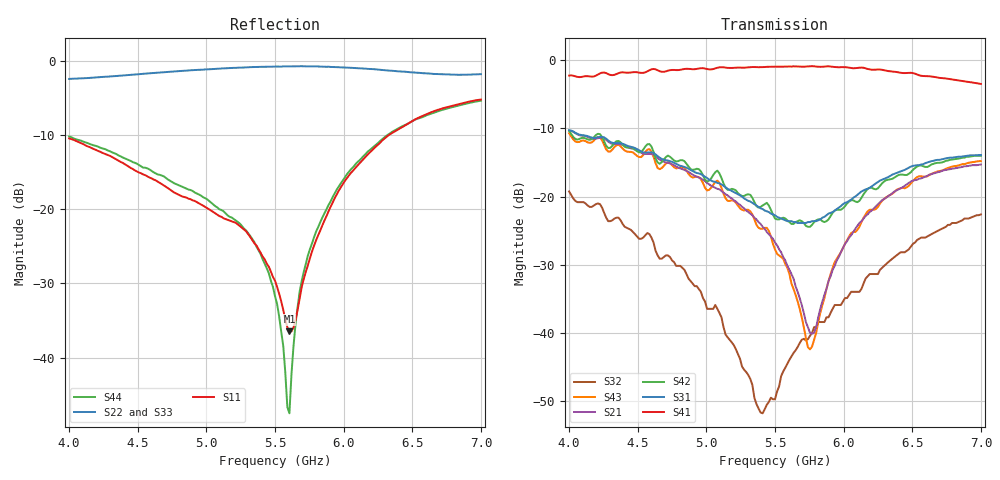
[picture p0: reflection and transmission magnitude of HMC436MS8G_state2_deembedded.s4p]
!Hittite Microwave Corporation
!12 Elizabeth Drive
!Chelmsford, MA 01824
!Tel: 978-250-3343
!Fax: 978-250-3373
!Device: HMC436MS8G, 4.9-5.9 GHz GaAs MMIC DPDT Diversity Switch in 8-lead Grounded Base surface Mount Plastic Package
!Misc:  Port 1 = ANT1, Port 2 = ANT2, Port 3 = Tx, Port 4 = Rx, Vctl=+3V, State 2 selected, Room
# MHZ S MA R 50
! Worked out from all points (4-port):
!   201 points, 4 GHz to 7 GHz, reference 50 ohm
!   strongest paths, dB at 4 GHz, 4.75 GHz, 5.5 GHz, 6.25 GHz, 7 GHz:
!     S41: -2.2, -1.4, -0.9, -1.3, -3.5
!     S31: -10.3, -14.9, -22.7, -17.9, -13.9
!     S42: -10.3, -14.4, -23.2, -18.8, -14.0
!     S21: -10.3, -15.2, -26.7, -21.1, -15.3
!     S43: -10.7, -15.4, -27.7, -21.5, -14.8
!     S32: -19.3, -29.4, -49.7, -31.4, -22.6
!   lowest |S11| = -36.5 dB at 5.605 GHz (marker M1), VSWR 1.03, Z = 50.8 + j1.28 ohm
!   |S11| at or under -10 dB: start of sweep to 6.328 GHz
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4000  0.301 64.8  0.328 -2.6  0.331 3.1  0.758 52.4
      0.305 -2.4  0.759 -7.7  0.114 -61.0  0.289 2.5
      0.307 3.2  0.109 -64.9  0.767 -7.1  0.277 -2.8
      0.773 51.1  0.304 -2.8  0.292 -8.2  0.31 68.4
5290  0.071 4.2  0.078 -22.3  0.094 14.2  0.89 48.1
      0.079 -18.6  0.908 -48.1  0.005031 -91.4  0.101 13.4
      0.095 18.0  0.005157 -83.7  0.903 -47.1  0.079 -17.9
      0.885 48.4  0.103 16.0  0.08 -15.3  0.072 4.5
5515  0.03 4.9  0.041 -28.7  0.067 33.9  0.898 47.0
      0.044 -25.0  0.92 -52.4  0.003849 168.5  0.074 31.1
      0.071 37.7  0.003704 168.6  0.912 -51.8  0.042 -24.1
      0.898 47.0  0.068 30.5  0.038 -25.1  0.023 -0.7
5605  0.015 57.1  0.032 -28.0  0.071 52.3  0.899 46.2
      0.029 -31.8  0.922 -54.3  0.00687 162.6  0.067 41.9
      0.066 49.5  0.006337 159.5  0.915 -53.9  0.027 -31.9
      0.901 46.4  0.065 41.8  0.027 -32.8  0.004203 103.4
5755  0.047 144.8  0.009751 -92.2  0.062 70.3  0.901 45.3
      0.01 -89.3  0.922 -58.4  0.009558 155.3  0.064 65.1
      0.065 71.8  0.009521 157.1  0.914 -58.4  0.007979 -106.4
      0.905 45.3  0.06 65.6  0.007558 -107.1  0.054 149.7
5950  0.126 143.3  0.034 -178.8  0.08 97.6  0.894 42.9
      0.034 -179.7  0.911 -65.1  0.015 164.7  0.079 89.7
      0.081 96.6  0.016 163.1  0.901 -65.4  0.034 172.8
      0.891 42.9  0.08 89.4  0.035 171.9  0.136 144.2
7000  0.551 123.2  0.177 139.0  0.207 105.2  0.671 37.0
      0.172 139.7  0.817 -141.0  0.074 161.0  0.195 103.3
      0.202 105.8  0.074 161.7  0.814 -141.4  0.179 138.5
      0.671 37.1  0.199 102.9  0.182 138.4  0.541 118.0
